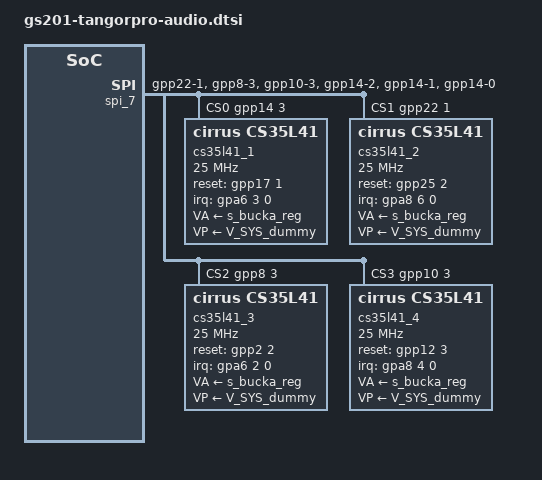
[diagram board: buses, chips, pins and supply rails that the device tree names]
// SPDX-License-Identifier: GPL-2.0-only
/*
 * Google GS202 Tangorpro common audio device tree source
 *
 * Copyright (c) 2022 Google, LLC
 *          https://www.google.com
 *
 */
#include <arm64/exynos/exynos-pinctrl.h>
#include "gs201/gs101-pinctrl.h"
#include <dt-bindings/gpio/gpio.h>
#include <dt-bindings/sound/google-aoc.h>

&aoc {
	aoc-board-cfg = "T6P";
	aoc-board-id = <0x20901>;
	aoc-board-rev = <0x10000>;
};

/*
  cs35l41_1 ==> Left top
  cs35l41_2 ==> Left bottom
  cs35l41_3 ==> Right bottom
  cs35l41_4 ==> Right top
*/

&dai_be_tdm0_rx {
	codec {
		sound-dai = <&cs35l41_1 0>,
			<&cs35l41_2 0>,
			<&cs35l41_3 0>,
			<&cs35l41_4 0>;
	};
};

&dai_be_tdm0_tx {
	codec {
		sound-dai = <&cs35l41_1 0>,
			<&cs35l41_2 0>,
			<&cs35l41_3 0>,
			<&cs35l41_4 0>;
	};
};

&aoc_snd_card {
	clks {
		sys {
			sys@cs35l41_1 {
				comp = <&cs35l41_1>;
				src = "BCLK";
				/* clk id */
				id = <0>;
				/* clk source */
				srcid = <0>;
				/* in clk multiple */
				in_mul = <1>;
				/* out clk multiple */
				out_mul = <1>;
			};

			sys@cs35l41_2 {
				comp = <&cs35l41_2>;
				src = "BCLK";
				/* clk id */
				id = <0>;
				/* clk source */
				srcid = <0>;
				/* in clk multiple */
				in_mul = <1>;
				/* out clk multiple */
				out_mul = <1>;
			};

			sys@cs35l41_3 {
				comp = <&cs35l41_3>;
				src = "BCLK";
				/* clk id */
				id = <0>;
				/* clk source */
				srcid = <0>;
				/* in clk multiple */
				in_mul = <1>;
				/* out clk multiple */
				out_mul = <1>;
			};

			sys@cs35l41_4 {
				comp = <&cs35l41_4>;
				src = "BCLK";
				/* clk id */
				id = <0>;
				/* clk source */
				srcid = <0>;
				/* in clk multiple */
				in_mul = <1>;
				/* out clk multiple */
				out_mul = <1>;
			};

		};
	};
};

/* GPIO_FAR_ALIVE */
&pinctrl_1 {
	cs35l41_1_irq: cs35l41-1-irq {
		samsung,pins = "gpa6-3"; /* XEINT_3 - AMP1_IRQ_L */
		samsung,pin-function = <EXYNOS_PIN_FUNC_EINT>;
		samsung,pin-pud = <EXYNOS_PIN_PULL_NONE>;
	};

	cs35l41_2_irq: cs35l41-2-irq {
		samsung,pins = "gpa8-6"; /* XEINT_18 - AMP2_IRQ_L */
		samsung,pin-function = <EXYNOS_PIN_FUNC_EINT>;
		samsung,pin-pud = <EXYNOS_PIN_PULL_NONE>;
	};

	cs35l41_3_irq: cs35l41-3-irq {
		samsung,pins = "gpa6-2"; /* XEINT_2 (AMP3_IRQ_L) */
		samsung,pin-function = <EXYNOS_PIN_FUNC_EINT>;
		samsung,pin-pud = <EXYNOS_PIN_PULL_NONE>;
	};

	cs35l41_4_irq: cs35l41-4-irq {
		samsung,pins = "gpa8-4"; /* XEINT_16 (AMP4_IRQ_L) */
		samsung,pin-function = <EXYNOS_PIN_FUNC_EINT>;
		samsung,pin-pud = <EXYNOS_PIN_PULL_NONE>;
	};
};

/* GPIO_PERIC0 */
&pinctrl_4 {
	cs35l41_clk: cs35l41-clk {
		samsung,pins = "gpp14-0"; /* XAPC_USI7_RXD_CLK_SCL - AUDIO_SPI_CLK */
		samsung,pin-drv = <GS101_PIN_DRV_5_MA>;
	};

	cs35l41_mosi: cs35l41-mosi {
		samsung,pins = "gpp14-1"; /* XAPC_USI7_TXD_DO_SDA - AUDIO_SPI_MOSI */
		samsung,pin-drv = <GS101_PIN_DRV_5_MA>;
	};

	cs35l41_miso: cs35l41-miso {
		samsung,pins = "gpp14-2"; /* XAPC_USI7_RTSn_DI - AUDIO_SPI_MISO */
		samsung,pin-pud = <EXYNOS_PIN_PULL_DOWN>;
	};

	cs35l41_cs1: cs35l41-cs1 {
		samsung,pins = "gpp14-3"; /* XAPC_USI7_CTSN_CSN - AUDIO_AMP1_SPI_CS_L */
		samsung,pin-function = <EXYNOS_PIN_FUNC_OUTPUT>;
		samsung,pin-pud = <EXYNOS_PIN_PULL_NONE>;
	};

	cs35l41_1_rst: cs35l41-1-rst {
		samsung,pins = "gpp17-1"; /* XAPC_VSYNC8 - AMP1_RESET_L */
		samsung,pin-function = <EXYNOS_PIN_FUNC_OUTPUT>;
		samsung,pin-pud = <EXYNOS_PIN_PULL_NONE>;
		samsung,pin-con-pdn = <EXYNOS_PIN_PDN_PREV>;
		samsung,pin-pud-pdn = <EXYNOS_PIN_PULL_NONE>;
	};

	cs35l41_3_rst: cs35l41-3-rst {
		samsung,pins = "gpp2-2"; /* XAPC_USI1_RTSn_DI (AMP3_RESET_L) */
		samsung,pin-function = <EXYNOS_PIN_FUNC_OUTPUT>;
		samsung,pin-pud = <EXYNOS_PIN_PULL_NONE>;
		samsung,pin-con-pdn = <EXYNOS_PIN_PDN_PREV>;
		samsung,pin-pud-pdn = <EXYNOS_PIN_PULL_NONE>;
	};

	cs35l41_cs3: cs35l41-cs3 {
		samsung,pins = "gpp8-3"; /* XAPC_USI4_CTSn_CSn (AUDIO_AMP3_SPI_CS_L) */
		samsung,pin-pud = <EXYNOS_PIN_PULL_NONE>;
	};

	cs35l41_cs4: cs35l41-cs4 {
		samsung,pins = "gpp10-3"; /* XAPC_USI5_CTSn_CSn (AUDIO_AMP4_SPI_CS_L) */
		samsung,pin-pud = <EXYNOS_PIN_PULL_NONE>;
	};

	cs35l41_4_rst: cs35l41-4-rst {
		samsung,pins = "gpp12-3"; /* XAPC_USI6_CTSn_CSn (AMP4_RESET_L) */
		samsung,pin-function = <EXYNOS_PIN_FUNC_OUTPUT>;
		samsung,pin-pud = <EXYNOS_PIN_PULL_NONE>;
		samsung,pin-con-pdn = <EXYNOS_PIN_PDN_PREV>;
		samsung,pin-pud-pdn = <EXYNOS_PIN_PULL_NONE>;
	};
};

/* GPIO_PERIC1 */
&pinctrl_5 {
	cs35l41_cs2: cs35l41-cs2 {
		samsung,pins = "gpp22-1"; /* XAPC_GPIO5 - AUDIO_AMP2_SPI_CS_L */
		samsung,pin-function = <EXYNOS_PIN_FUNC_OUTPUT>;
		samsung,pin-pud = <EXYNOS_PIN_PULL_NONE>;
	};

	cs35l41_2_rst: cs35l41-2-rst {
		samsung,pins = "gpp25-2"; /* XAPC_USI13_RTSn_DI - AMP2_RESET_L */
		samsung,pin-function = <EXYNOS_PIN_FUNC_OUTPUT>;
		samsung,pin-pud = <EXYNOS_PIN_PULL_NONE>;
		samsung,pin-con-pdn = <EXYNOS_PIN_PDN_PREV>;
		samsung,pin-pud-pdn = <EXYNOS_PIN_PULL_NONE>;
	};
};

&spi7_cs_func {
	samsung,pins = "gpp14-3";
	samsung,pin-drv = <GS101_PIN_DRV_5_MA>;
};

&spi_7 {
	/* XAPC_USI7 */
	#address-cells = <1>;
	#size-cells = <0>;
	status = "okay";

	pinctrl-names = "default";
	pinctrl-0 = <&spi7_bus &spi7_cs_func &cs35l41_cs2 &cs35l41_cs3 &cs35l41_cs4
		     &cs35l41_miso &cs35l41_mosi &cs35l41_clk>;
	cs-gpios = <&gpp14 3 GPIO_ACTIVE_HIGH>, <&gpp22 1 GPIO_ACTIVE_HIGH>,
		   <&gpp8 3 GPIO_ACTIVE_HIGH>, <&gpp10 3 GPIO_ACTIVE_HIGH>;

	cs35l41_1: cs35l41@0 {
		#sound-dai-cells = <1>;
		compatible = "cirrus,cs35l41";
		spi-max-frequency = <25000000>;
		reg = <0>;

		status = "okay";

		pinctrl-names = "default";
		pinctrl-0 = <&cs35l41_1_irq &cs35l41_1_rst>;

		interrupt-parent = <&gpa6>;
		interrupts = <3 0 0>;

		reset-gpios = <&gpp17 1 0>;

		VA-supply = <&s_bucka_reg>;
		VP-supply = <&V_SYS_dummy>;

		cirrus,boost-peak-milliamp = <3500>;
		cirrus,boost-ind-nanohenry = <1000>;
		cirrus,boost-cap-microfarad = <30>;
		cirrus,hw-noise-gate-select = <63>;

		cirrus,asp-sdout-hiz = <3>;
		cirrus,tuning-has-prefix;
		cirrus,left-channel-amp;

		cirrus,gpio-config2 {
			cirrus,gpio-src-select = <0x5>;
			cirrus,gpio-output-enable;
		};

		controller-data {
			cs-gpio = <&gpp14 3 GPIO_ACTIVE_HIGH>;
			samsung,spi-feedback-delay = <1>;
			/* SET SPI CS CONTROL TO AUTOMATIC */
			samsung,spi-chip-select-mode = <1>;
		};
	};


	cs35l41_2: cs35l41@1 {
		#sound-dai-cells = <1>;
		sound-name-prefix = "L2";
		compatible = "cirrus,cs35l41";
		spi-max-frequency = <25000000>;
		reg = <1>;

		status = "okay";

		pinctrl-names = "default";
		pinctrl-0 = <&cs35l41_2_irq &cs35l41_2_rst>;

		interrupt-parent = <&gpa8>;
		interrupts = <6 0 0>;

		reset-gpios = <&gpp25 2 0>;

		VA-supply = <&s_bucka_reg>;
		VP-supply = <&V_SYS_dummy>;

		cirrus,boost-peak-milliamp = <3500>;
		cirrus,boost-ind-nanohenry = <1000>;
		cirrus,boost-cap-microfarad = <30>;
		cirrus,hw-noise-gate-select = <63>;

		cirrus,asp-sdout-hiz = <3>;
		cirrus,tuning-has-prefix;
		cirrus,left-channel-amp;

		cirrus,gpio-config2 {
			cirrus,gpio-src-select = <0x5>;
			cirrus,gpio-output-enable;
		};

		controller-data {
			cs-gpio =<&gpp22 1 GPIO_ACTIVE_HIGH>;
			samsung,spi-feedback-delay = <1>;
			/* SET SPI CS CONTROL TO AUTOMATIC */
			samsung,spi-chip-select-mode = <1>;
		};
	};

	cs35l41_3: cs35l41@2 {
		#sound-dai-cells = <1>;
		sound-name-prefix = "R2";
		compatible = "cirrus,cs35l41";
		spi-max-frequency = <25000000>;
		reg = <2>;

		status = "okay";

		pinctrl-names = "default";
		pinctrl-0 = <&cs35l41_3_irq &cs35l41_3_rst>;

		interrupt-parent = <&gpa6>;
		interrupts = <2 0 0>;

		reset-gpios = <&gpp2 2 0>;

		VA-supply = <&s_bucka_reg>;
		VP-supply = <&V_SYS_dummy>;

		cirrus,boost-peak-milliamp = <3500>;
		cirrus,boost-ind-nanohenry = <1000>;
		cirrus,boost-cap-microfarad = <30>;
		cirrus,hw-noise-gate-select = <63>;

		cirrus,asp-sdout-hiz = <3>;
		cirrus,tuning-has-prefix;
		cirrus,right-channel-amp;

		cirrus,gpio-config2 {
			cirrus,gpio-src-select = <0x5>;
			cirrus,gpio-output-enable;
		};

		controller-data {
			cs-gpio = <&gpp8 3 GPIO_ACTIVE_HIGH>;
			samsung,spi-feedback-delay = <1>;
			/* SET SPI CS CONTROL TO AUTOMATIC */
			samsung,spi-chip-select-mode = <1>;
		};
	};

	cs35l41_4: cs35l41@3 {
		#sound-dai-cells = <1>;
		sound-name-prefix = "R";
		compatible = "cirrus,cs35l41";
		spi-max-frequency = <25000000>;
		reg = <3>;

		status = "okay";

		pinctrl-names = "default";
		pinctrl-0 = <&cs35l41_4_irq &cs35l41_4_rst>;

		interrupt-parent = <&gpa8>;
		interrupts = <4 0 0>;

		reset-gpios = <&gpp12 3 0>;

		VA-supply = <&s_bucka_reg>;
		VP-supply = <&V_SYS_dummy>;

		cirrus,boost-peak-milliamp = <3500>;
		cirrus,boost-ind-nanohenry = <1000>;
		cirrus,boost-cap-microfarad = <30>;
		cirrus,hw-noise-gate-select = <63>;

		cirrus,asp-sdout-hiz = <3>;
		cirrus,tuning-has-prefix;
		cirrus,right-channel-amp;

		cirrus,gpio-config2 {
			cirrus,gpio-src-select = <0x5>;
			cirrus,gpio-output-enable;
		};

		controller-data {
			cs-gpio =<&gpp10 3 GPIO_ACTIVE_HIGH>;
			samsung,spi-feedback-delay = <1>;
			/* SET SPI CS CONTROL TO AUTOMATIC */
			samsung,spi-chip-select-mode = <1>;
		};
	};
};

/* remove haptic audio codec */
/delete-node/ &dai_be_haptic_rx_codec;

/* Sensor: remove 3v3 (LDO5S) */
&aoc {
	sensor_power_list = "sensor_1v8";
};
